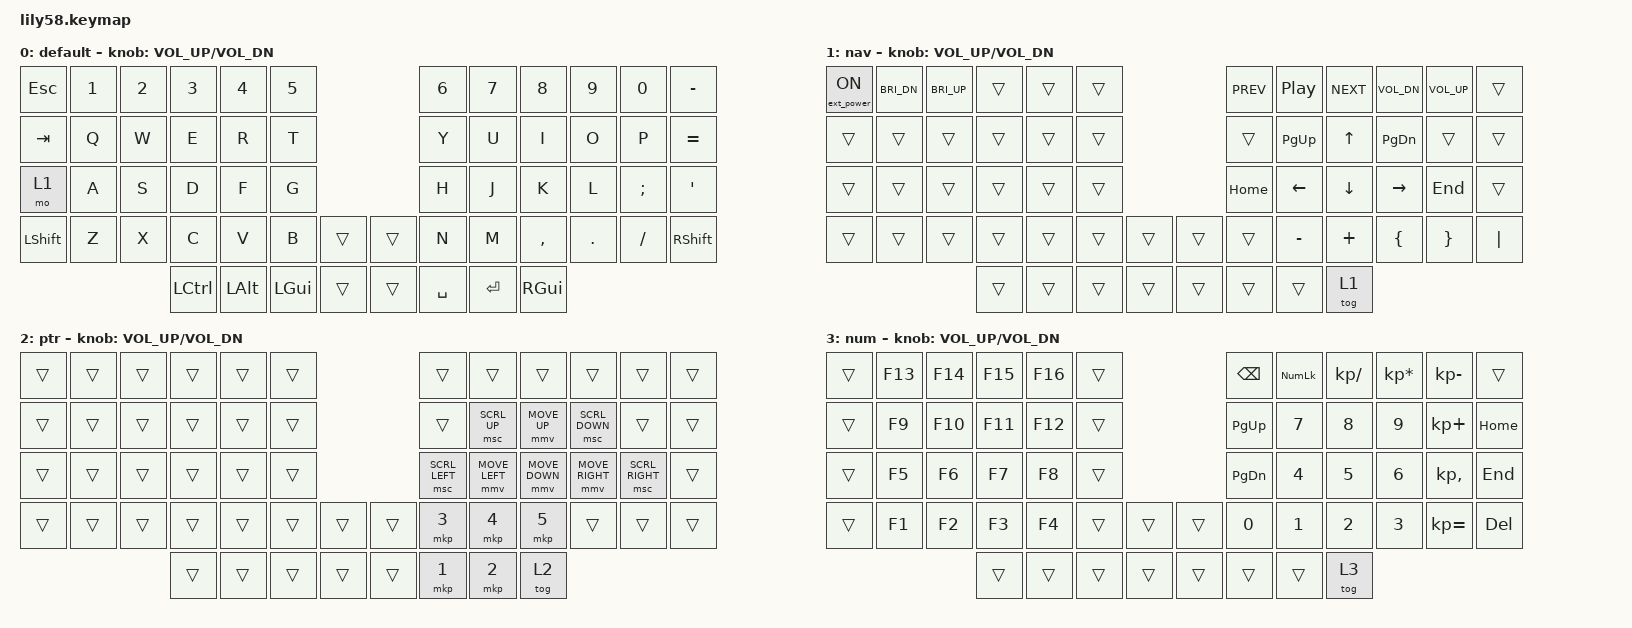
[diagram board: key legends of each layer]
/*
 * Copyright (c) 2020 The ZMK Contributors
 *
 * SPDX-License-Identifier: MIT
 */

#include <behaviors.dtsi>
#include <dt-bindings/zmk/keys.h>
#include <dt-bindings/zmk/bt.h>
#include <dt-bindings/zmk/ext_power.h>
// mouse emulation
#include <dt-bindings/zmk/pointing.h>

/ {

// key-positions
// ------------------------------------------------------------------------------------------------------------
// |  0   |  1   |  2   |  3   |  4   |  5   |                |  6   |  7   |  8   |  9   |  10  |  11  |
// |  12  |  13  |  14  |  15  |  16  |  17  |                |  18  |  19  |  20  |  21  |  22  |  23  |
// |  24  |  25  |  26  |  27  |  28  |  29  |                |  30  |  31  |  32  |  33  |  34  |  35  |
// |  36  |  37  |  38  |  39  |  40  |  41  | "42" |  | "43" |  44  |  45  |  46  |  47  |  48  |  49  |
//                      |  50  |  51  |  52  | "53" |  | "54" |  55  |  56  |  57  |
    combos {
        compatible = "zmk,combos";
        // default
        combo_tilde {
            layers = <0>;
            timeout-ms = <50>;
            key-positions = <13 14>;
            bindings = <&kp TILDE>;
        };
        combo_page_up {
            layers = <0>;
            timeout-ms = <50>;
            key-positions = <14 15>;
            bindings = <&kp PAGE_UP>;
        };
        combo_left_paren {
            layers = <0>;
            timeout-ms = <50>;
            key-positions = <15 16>;
            bindings = <&kp LEFT_PARENTHESIS>;
        };
        combo_grave {
            layers = <0>;
            timeout-ms = <50>;
            key-positions = <25 26>;
            bindings = <&kp GRAVE>;
        };
        combo_home {
            layers = <0>;
            timeout-ms = <50>;
            key-positions = <26 27>;
            bindings = <&kp HOME>;
        };
        combo_left_brace {
            layers = <0>;
            timeout-ms = <50>;
            key-positions = <27 28>;
            bindings = <&kp LEFT_BRACE>;
        };
        combo_num_layer_left {
            layers = <0>;
            timeout-ms = <50>;
            key-positions = <37 38>;
            bindings = <&mo 3>;
        };
        combo_ptr_layers {
            layers = <0>;
            timeout-ms = <50>;
            key-positions = <38 39>;
            bindings = <&mo 2>;
        };
        combo_left_bracket {
            layers = <0>;
            timeout-ms = <50>;
            key-positions = <39 40>;
            bindings = <&kp LEFT_BRACKET>;
        };
        combo_caps_lock {
            layers = <0>;
            timeout-ms = <50>;
            key-positions = <36 49>;
            bindings = <&kp CAPSLOCK>;
        };
        combo_right_parens {
            layers = <0>;
            timeout-ms = <50>;
            key-positions = <19 20>;
            bindings = <&kp RIGHT_PARENTHESIS>;
        };
        combo_page_down {
            layers = <0>;
            timeout-ms = <50>;
            key-positions = <20 21>;
            bindings = <&kp PAGE_DOWN>;
        };
        combo_pipe {
            layers = <0>;
            timeout-ms = <50>;
            key-positions = <21 22>;
            bindings = <&kp PIPE>;
        };
        combo_right_brace {
            layers = <0>;
            timeout-ms = <50>;
            key-positions = <31 32>;
            bindings = <&kp RIGHT_BRACE>;
        };
        combo_end {
            layers = <0>;
            timeout-ms = <50>;
            key-positions = <32 33>;
            bindings = <&kp END>;
        };
        combo_backslash {
            layers = <0>;
            timeout-ms = <50>;
            key-positions = <33 34>;
            bindings = <&kp BACKSLASH>;
        };
        combo_right_bracket {
            layers = <0>;
            timeout-ms = <50>;
            key-positions = <45 46>;
            bindings = <&kp RIGHT_BRACKET>;
        };
        combo_backspace {
            layers = <0>;
            timeout-ms = <50>;
            key-positions = <46 47>;
            bindings = <&kp BACKSPACE>;
        };
        combo_delete {
            layers = <0>;
            timeout-ms = <50>;
            key-positions = <36 46 47>;
            bindings = <&kp DELETE>;
        };
        combo_num_layer_right {
            layers = <0>;
            timeout-ms = <50>;
            key-positions = <47 48>;
            bindings = <&mo 3>;
        };
        // nav
        combo_mute {
            layers = <1>;
            timeout-ms = <50>;
            key-positions = <9 10>;
            bindings = <&kp C_MUTE>;
        };
    };

    keymap {
        compatible = "zmk,keymap";

        default {
// ------------------------------------------------------------------------------------------------------------
// |  ESC  |  1  |  2  |  3   |  4   |  5   |                   |  6   |  7    |  8    |  9   |   0   |   `   |
// |  TAB  |  Q  |  W  |  E   |  R   |  T   |                   |  Y   |  U    |  I    |  O   |   P   |   -   |
// |  CTRL |  A  |  S  |  D   |  F   |  G   |                   |  H   |  J    |  K    |  L   |   ;   |   '   |
// | SHIFT |  Z  |  X  |  C   |  V   |  B   |   "["  |  |  "]"  |  N   |  M    |  ,    |  .   |   /   | SHIFT |
//                     | ALT  | GUI  | LOWER|  SPACE |  | ENTER | RAISE| BSPC  | GUI   |
            bindings = <
&kp ESC   &kp N1 &kp N2 &kp N3    &kp N4   &kp N5                         &kp N6    &kp N7    &kp N8    &kp N9  &kp N0   &kp MINUS
&kp TAB   &kp Q  &kp W  &kp E     &kp R    &kp T                          &kp Y     &kp U     &kp I     &kp O   &kp P    &kp EQUAL
&mo 1     &kp A  &kp S  &kp D     &kp F    &kp G                          &kp H     &kp J     &kp K     &kp L   &kp SEMI &kp SQT
&kp LSHFT &kp Z  &kp X  &kp C     &kp V    &kp B       &trans   &trans    &kp N     &kp M     &kp COMMA &kp DOT &kp FSLH &kp RSHFT
                        &kp LCTRL &kp LALT &kp LGUI    &trans   &trans    &kp SPACE &kp ENTER &kp RGUI
            >;

            sensor-bindings = <&inc_dec_kp C_VOL_UP C_VOL_DN>;
        };

        nav {
// ------------------------------------------------------------------------------------------------------------
// | BTCLR | BT1 | BT2 |  BT3 |  BT4 |  BT5 |                   |      |       |       |      |       |       |
// |  F1   |  F2 |  F3 |  F4  |  F5  |  F6  |                   |  F7  |  F8   |  F9   |  F10 |  F11  |  F12  |
// |   `   |  !  |  @  |  #   |  $   |  %   |                   |  ^   |  &    |  *    |  (   |   )   |   ~   |
// |       |     |     |      |      |      |        |  |       |      |  _    |  +    |  {   |   }   |  "|"  |
//                     |      |      |      |        |  |       |      |       |       |
            bindings = <
&ext_power EP_ON  &kp C_BRI_DN &kp C_BRI_UP &trans &trans &trans                       &kp C_PREV &kp C_PLAY_PAUSE &kp C_NEXT &kp C_VOL_DN  &kp C_VOL_UP &trans
&trans            &trans       &trans       &trans &trans &trans                       &trans     &kp PAGE_UP      &kp UP     &kp PAGE_DOWN &trans       &trans
&trans            &trans       &trans       &trans &trans &trans                       &kp HOME   &kp LEFT         &kp DOWN   &kp RIGHT     &kp END      &trans
&trans            &trans       &trans       &trans &trans &trans    &trans   &trans    &trans     &kp MINUS        &kp PLUS   &kp LBRC      &kp RBRC     &kp PIPE
                                            &trans &trans &trans    &trans   &trans    &trans     &trans           &tog 1
            >;

            sensor-bindings = <&inc_dec_kp C_VOL_UP C_VOL_DN>;
        };

        ptr {
// ------------------------------------------------------------------------------------------------------------
// |       |     |     |      |      |      |                   |      |       |       |      |       |       |
// |   `   |  1  |  2  |  3   |  4   |  5   |                   |  6   |   7   |   8   |  9   |   0   |       |
// |   F1  |  F2 |  F3 |  F4  |  F5  |  F6  |                   |      |   <-  |   v   |  ^   |  ->   |       |
// |   F7  |  F8 |  F9 |  F10 |  F11 |  F12 |        |  |       |  +   |   -   |   =   |  [   |   ]   |   \   |
//                     |      |      |      |        |  |       |      |       |       |
            bindings = <
&trans &trans &trans &trans &trans &trans                       &trans         &trans         &trans         &trans          &trans          &trans  
&trans &trans &trans &trans &trans &trans                       &trans         &msc SCRL_UP   &mmv MOVE_UP   &msc SCRL_DOWN  &trans          &trans
&trans &trans &trans &trans &trans &trans                       &msc SCRL_LEFT &mmv MOVE_LEFT &mmv MOVE_DOWN &mmv MOVE_RIGHT &msc SCRL_RIGHT &trans
&trans &trans &trans &trans &trans &trans    &trans   &trans    &mkp 3         &mkp 4         &mkp 5         &trans          &trans          &trans
                     &trans &trans &trans    &trans   &trans    &mkp 1         &mkp 2         &tog 2
            >;

            sensor-bindings = <&inc_dec_kp C_VOL_UP C_VOL_DN>;
        };

        num {
// ------------------------------------------------------------------------------------------------------------
// |       |     |     |      |      |      |                   |      |       |       |      |       |       |
// |   `   |  1  |  2  |  3   |  4   |  5   |                   |  6   |   7   |   8   |  9   |   0   |       |
// |   F1  |  F2 |  F3 |  F4  |  F5  |  F6  |                   |      |   <-  |   v   |  ^   |  ->   |       |
// |   F7  |  F8 |  F9 |  F10 |  F11 |  F12 |        |  |       |  +   |   -   |   =   |  [   |   ]   |   \   |
//                     |      |      |      |        |  |       |      |       |       |
            bindings = <
&trans &kp F13 &kp F14 &kp F15 &kp F16 &trans                       &kp BACKSPACE &kp KP_NUMLOCK &kp KP_SLASH &kp KP_ASTERISK &kp KP_MINUS &trans
&trans &kp F9  &kp F10 &kp F11 &kp F12 &trans                       &kp PAGE_UP   &kp N7         &kp N8       &kp N9          &kp KP_PLUS  &kp HOME
&trans &kp F5  &kp F6  &kp F7  &kp F8  &trans                       &kp PAGE_DOWN &kp N4         &kp N5       &kp N6          &kp KP_COMMA &kp END
&trans &kp F1  &kp F2  &kp F3  &kp F4  &trans    &trans   &trans    &kp N0        &kp N1         &kp N2       &kp N3          &kp KP_EQUAL &kp DEL
                       &trans  &trans  &trans    &trans   &trans    &trans        &trans         &tog 3
            >;

            sensor-bindings = <&inc_dec_kp C_VOL_UP C_VOL_DN>;
        };
    };
};
